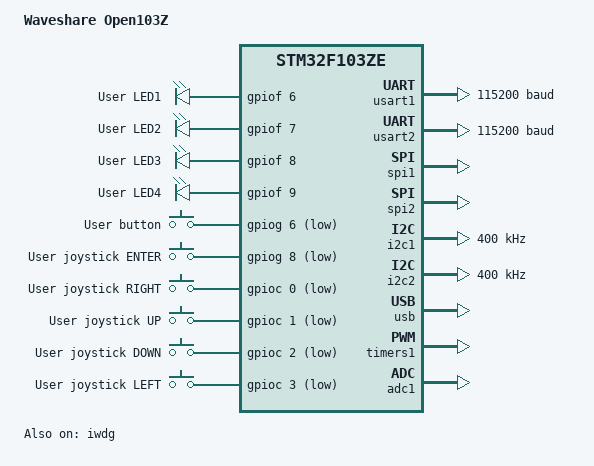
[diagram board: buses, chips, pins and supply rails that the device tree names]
/*
 * Copyright (c) 2020 Stefano Manni
 *
 * SPDX-License-Identifier: Apache-2.0
 */

/dts-v1/;
#include <st/f1/stm32f103Xe.dtsi>

/ {
	model = "Waveshare Open103Z";
	compatible = "waveshare,open103z", "st,stm32f103ze";

	chosen {
		zephyr,console = &usart1;
		zephyr,shell-uart = &usart1;
		zephyr,sram = &sram0;
		zephyr,flash = &flash0;
		zephyr,can-primary = &can1;
	};

	leds {
		compatible = "gpio-leds";
		led_1: led_1 {
			gpios = <&gpiof 6 GPIO_ACTIVE_HIGH>;
			label = "User LED1";
		};
		led_2: led_2 {
			gpios = <&gpiof 7 GPIO_ACTIVE_HIGH>;
			label = "User LED2";
		};
		led_3: led_3 {
			gpios = <&gpiof 8 GPIO_ACTIVE_HIGH>;
			label = "User LED3";
		};
		led_4: led_4 {
			gpios = <&gpiof 9 GPIO_ACTIVE_HIGH>;
			label = "User LED4";
		};
	};

	gpio_keys {
		compatible = "gpio-keys";
		button: button {
			label = "User button";
			gpios = <&gpiog 6 (GPIO_PULL_UP | GPIO_ACTIVE_LOW)>;
		};
		joystick_enter: joystick_enter {
			label = "User joystick ENTER";
			gpios = <&gpiog 8 (GPIO_PULL_UP | GPIO_ACTIVE_LOW)>;
		};
		joystick_right: joystick_right {
			label = "User joystick RIGHT";
			gpios = <&gpioc 0 (GPIO_PULL_UP | GPIO_ACTIVE_LOW)>;
		};
		joystick_up: joystick_up {
			label = "User joystick UP";
			gpios = <&gpioc 1 (GPIO_PULL_UP | GPIO_ACTIVE_LOW)>;
		};
		joystick_down: joystick_down {
			label = "User joystick DOWN";
			gpios = <&gpioc 2 (GPIO_PULL_UP | GPIO_ACTIVE_LOW)>;
		};
		joystick_left: joystick_left {
			label = "User joystick LEFT";
			gpios = <&gpioc 3 (GPIO_PULL_UP | GPIO_ACTIVE_LOW)>;
		};
	};

	aliases {
		led0 = &led_1;
		led1 = &led_2;
		led2 = &led_3;
		led3 = &led_4;
		sw0 = &button;
	};
};

&usart1 {
	current-speed = <115200>;
	status = "okay";
};

&usart2 {
	current-speed = <115200>;
	status = "okay";
};

&spi1 {
	status = "okay";
};

&spi2 {
	status = "okay";
};

&i2c1 {
	status = "okay";
	clock-frequency = <I2C_BITRATE_FAST>;
};

&i2c2 {
	status = "okay";
	clock-frequency = <I2C_BITRATE_FAST>;
};

&can1 {
	/*
	 * make sure CAN and USB are not enabled at the same time
	 * because they share interrupts 19, 20 (stm32f103Xb.dtsi)
	 * reference: RM0008 rev20 page 205
	 */
	status = "disabled";
	bus-speed = <125000>;
	sjw = <1>;
	prop-seg = <0>;
	phase-seg1 = <5>;
	phase-seg2 = <6>;
};

&usb {
	/*
	 * make sure CAN and USB are not enabled at the same time
	 * because they share interrupts 19, 20 (stm32f103Xb.dtsi)
	 * reference: RM0008 rev20 page 205
	 */
	status = "okay";
	disconnect-gpios = <&gpiog 15 GPIO_ACTIVE_HIGH>;
};

&timers1 {
	status = "okay";

	pwm1: pwm {
		status = "okay";
	};
};

&iwdg {
	status = "okay";
};

&adc1 {
	status = "okay";
};
